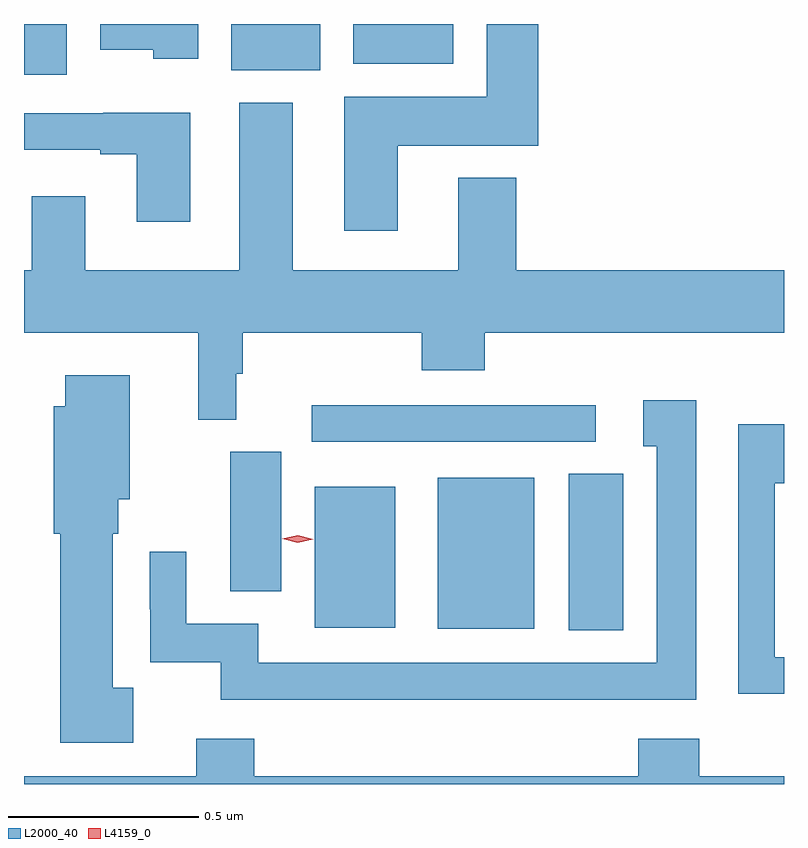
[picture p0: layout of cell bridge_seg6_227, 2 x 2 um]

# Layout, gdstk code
import gdstk
lib = gdstk.Library(unit=1e-6, precision=1e-09)
def R(c, l, rs):  # rectangles x0, y0, x1, y1
    for r in rs: c.add(gdstk.rectangle(r[:2], r[2:], *l))
def P(c, l, *ps):  # polygons
    for p in ps: c.add(gdstk.Polygon(p, *l))
L2000_40 = (2000, 40)
L4159_0 = (4159, 0)

bridge_seg6_227 = lib.new_cell('bridge_seg6_227')
R(bridge_seg6_227, L2000_40, [(215.75,937.228,215.893,937.64), (215.405,937.232,215.659,937.63), (215.081,937.235,215.293,937.606), (214.859,937.331,214.993,937.698), (215.073,937.725,215.821,937.821), (214.316,938.691,214.429,938.824), (214.862,938.702,215.095,938.824), (215.183,938.72,215.446,938.824)])
P(bridge_seg6_227, L2000_40, [(215.299,938.504),(215.669,938.504),(215.669,938.824),(215.534,938.824),(215.534,938.632),(215.159,938.632),(215.159,938.28),(215.299,938.28)],
  [(214.774,938.824),(214.517,938.824),(214.517,938.756),(214.656,938.756),(214.656,938.732),(214.774,938.732)],
  [(215.459,938.176),(215.023,938.176),(215.023,938.617),(214.883,938.617),(214.883,938.176),(214.477,938.176),(214.477,938.371),(214.337,938.371),(214.337,938.176),(214.316,938.176),(214.316,938.012),(214.775,938.012),(214.775,937.783),(214.874,937.783),(214.874,937.904),(214.892,937.904),(214.892,938.012),(215.363,938.012),(215.363,937.913),(215.528,937.913),(215.528,938.012),(216.316,938.012),(216.316,938.176),(215.612,938.176),(215.612,938.419),(215.459,938.419)],
  [(214.753,938.59),(214.525,938.59),(214.525,938.589),(214.316,938.589),(214.316,938.493),(214.517,938.493),(214.517,938.481),(214.613,938.481),(214.613,938.304),(214.753,938.304)],
  [(214.603,937.077),(214.549,937.077),(214.549,937.482),(214.564,937.482),(214.564,937.574),(214.594,937.574),(214.594,937.9),(214.424,937.9),(214.424,937.818),(214.394,937.818),(214.394,937.482),(214.412,937.482),(214.412,936.932),(214.603,936.932)],
  [(216.085,937.834),(215.945,937.834),(215.945,937.713),(215.981,937.713),(215.981,937.143),(214.933,937.143),(214.933,937.246),(214.743,937.246),(214.743,937.435),(214.647,937.435),(214.647,937.284),(214.648,937.284),(214.648,937.144),(214.834,937.144),(214.834,937.046),(216.085,937.046)],
  [(216.316,937.158),(216.291,937.158),(216.291,937.615),(216.316,937.615),(216.316,937.771),(216.195,937.771),(216.195,937.061),(216.316,937.061)],
  [(216.316,936.844),(216.093,936.844),(216.093,936.943),(215.933,936.943),(215.933,936.844),(214.922,936.844),(214.922,936.943),(214.769,936.943),(214.769,936.844),(214.316,936.844),(214.316,936.824),(216.316,936.824)])
P(bridge_seg6_227, L4159_0, [(215.036,937.459),(214.995,937.469),(214.995,937.47),(214.995,937.47),(215.036,937.479),(215.077,937.468),(215.077,937.468),(215.077,937.468)])

lib.write_gds('bridge_seg6_227.gds')
